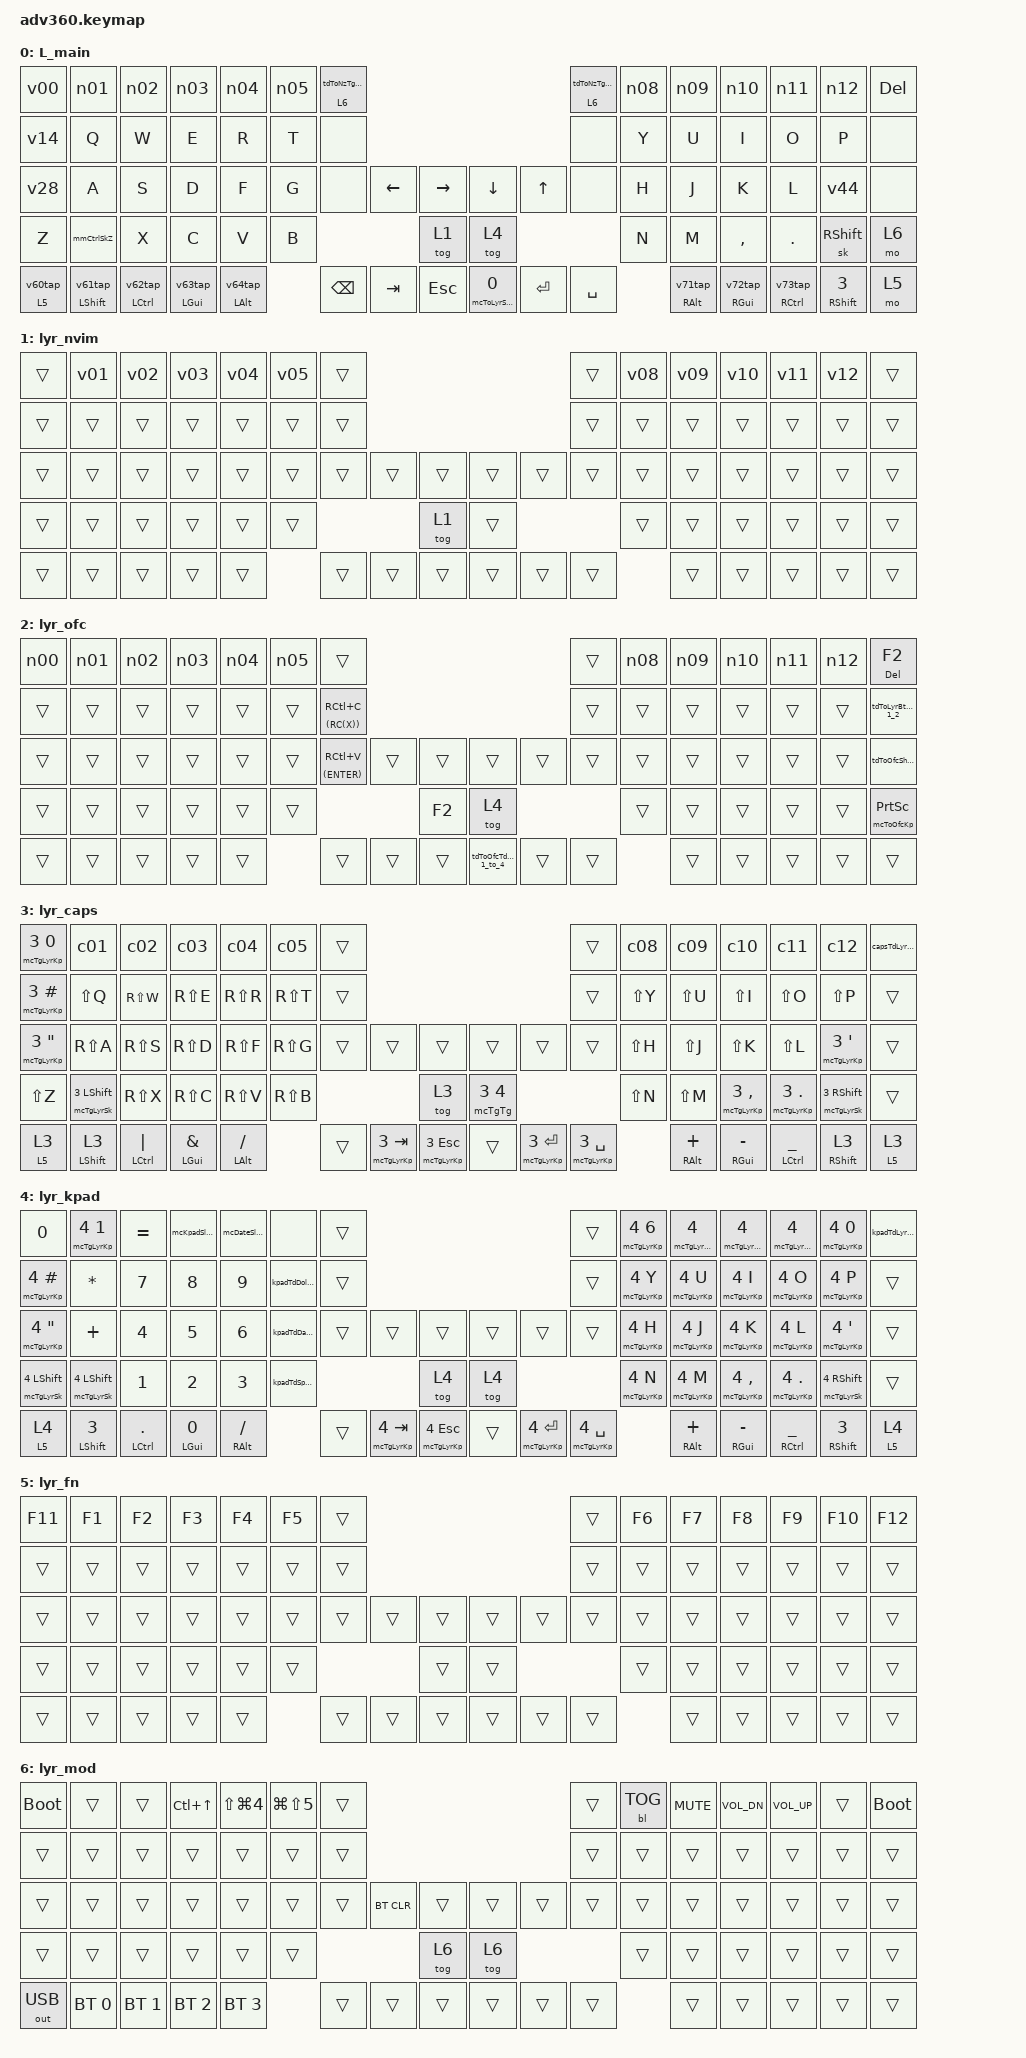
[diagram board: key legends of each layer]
/*
 * Copyright (c) 2020 The ZMK Contributors
 *
 * SPDX-License-Identifier: MIT
 */
/* THIS FILE WAS GENERATED!
 *
 * This file was generated automatically. You may or may not want to
 * edit it directly.
 */

#include <behaviors.dtsi>
#include <dt-bindings/zmk/backlight.h>
#include <dt-bindings/zmk/bt.h>
#include <dt-bindings/zmk/keys.h>
#include <dt-bindings/zmk/outputs.h>

&sk { quick-release; };

&caps_word { continue-list = <DELETE>; };

/ {
    behaviors {
        #include "macros.dtsi"
        #include "version.dtsi"

        sec_hold_tap_mods_here: sec_hold_tap_mods_here {
            compatible = "zmk,behavior-mod-morph";
            #binding-cells = <0>;
            mods = <(MOD_LSFT|MOD_RSFT)>;
            bindings = <&kp N0>, <&kp N0>;
        };

        htSklKpV61: htSklKpV61 {
            compatible = "zmk,behavior-hold-tap";
            #binding-cells = <2>;
            tapping-term-ms = <170>; // time to determine hold vs tap
            flavor = "tap-preferred"; // blanced =
            bindings = <&skl>, <&v61tap>;
        };

        v61tap: v61tap {
            compatible = "zmk,behavior-mod-morph";
            #binding-cells = <0>;
            mods = <(MOD_LSFT|MOD_RSFT)>;
            bindings = <&tog 3>, <&skl LSHIFT>;
        };

        htSkKpV62: htSkKpV62 {
            compatible = "zmk,behavior-hold-tap";
            #binding-cells = <2>;
            tapping-term-ms = <170>; // time to determine hold vs tap
            flavor = "tap-preferred"; // blanced =
            bindings = <&skl>, <&v62tap>;
        };

        v62tap: v62tap {
            compatible = "zmk,behavior-mod-morph";
            #binding-cells = <0>;
            mods = <(MOD_LSFT|MOD_RSFT)>;
            bindings = <&kp PIPE>, <&kp AT>;
        };

        htSkKpV63: htSkKpV63 {
            compatible = "zmk,behavior-hold-tap";
            #binding-cells = <2>;
            tapping-term-ms = <170>; // time to determine hold vs tap
            flavor = "tap-preferred"; //
            bindings = <&skl>, <&v63tap>;
        };

        v63tap: v63tap {
            compatible = "zmk,behavior-mod-morph";
            #binding-cells = <0>;
            mods = <(MOD_LSFT|MOD_RSFT)>;
            bindings = <&kp AMPS>, <&kp PERCENT>;
        };

        htSkKpV64: htSkKpV64 {
            compatible = "zmk,behavior-hold-tap";
            #binding-cells = <2>;
            tapping-term-ms = <170>; // time to determine hold vs tap
            flavor = "tap-preferred"; //
            bindings = <&skl>, <&v64tap>;
        };

        v64tap: v64tap {
            compatible = "zmk,behavior-mod-morph";
            #binding-cells = <0>;
            mods = <(MOD_LSFT|MOD_RSFT)>;
            bindings = <&kp SLASH>, <&kp BACKSLASH>;
        };

        htSkKpV71: htSkKpV71 {
            compatible = "zmk,behavior-hold-tap";
            #binding-cells = <2>;
            tapping-term-ms = <170>; // time to determine hold vs tap
            flavor = "tap-preferred"; //
            bindings = <&skl>, <&v71tap>;
        };

        v71tap: v71tap {
            compatible = "zmk,behavior-mod-morph";
            #binding-cells = <0>;
            mods = <(MOD_LSFT|MOD_RSFT)>;
            bindings = <&kp PLUS>, <&kp ASTRK>;
        };

        htSkKpV72: htSkKpV72 {
            compatible = "zmk,behavior-hold-tap";
            #binding-cells = <2>;
            tapping-term-ms = <170>; // time to determine hold vs tap
            flavor = "tap-preferred"; //
            bindings = <&skl>, <&v72tap>;
        };

        v72tap: v72tap {
            compatible = "zmk,behavior-mod-morph";
            #binding-cells = <0>;
            mods = <(MOD_LSFT|MOD_RSFT)>;
            bindings = <&kp MINUS>, <&kp CARET>;
        };

        htSkKpV73: htSkKpV73 {
            compatible = "zmk,behavior-hold-tap";
            #binding-cells = <2>;
            tapping-term-ms = <170>; // time to determine hold vs tap
            flavor = "tap-preferred"; // blanced =
            bindings = <&skl>, <&v73tap>;
        };

        v73tap: v73tap {
            compatible = "zmk,behavior-mod-morph";
            #binding-cells = <0>;
            mods = <(MOD_LSFT|MOD_RSFT)>;
            bindings = <&kp UNDER>, <&kp DOLLAR>;
        };

        htSkKpV74: htSkKpV74 {
            compatible = "zmk,behavior-hold-tap";
            #binding-cells = <2>;
            tapping-term-ms = <170>; // time to determine hold vs tap
            flavor = "tap-preferred"; // blanced =
            bindings = <&skl>, <&v74tap>;
        };

        v74hold: v74hold {
            compatible = "zmk,behavior-mod-morph";
            #binding-cells = <0>;
            mods = <(MOD_RCTL|MOD_RGUI|MOD_RALT)>;
            bindings = <&mo 5>, <&skl RSHFT>;
        };

        v74tap: v74tap {
            compatible = "zmk,behavior-mod-morph";
            #binding-cells = <0>;
            mods = <(MOD_RCTL|MOD_RGUI|MOD_RALT)>;
            bindings = <&tog 3>, <&skl RSHFT>;
        };

        sec_number_row_begins_here: sec_number_row_begins_here {
            compatible = "zmk,behavior-mod-morph";
            #binding-cells = <0>;
            mods = <(MOD_LSFT|MOD_RSFT)>;
            bindings = <&kp N0>, <&kp N0>;
        };

        v01: v01 {
            compatible = "zmk,behavior-mod-morph";
            #binding-cells = <0>;
            mods = <(MOD_RSFT|MOD_LSFT)>;
            bindings = <&kp EXCL>, <&kp N1>;
        };

        n01: n01 {
            compatible = "zmk,behavior-mod-morph";
            #binding-cells = <0>;
            mods = <(MOD_RSFT|MOD_LSFT)>;
            bindings = <&kp N1>, <&kp EXCL>;
        };

        v02: v02 {
            compatible = "zmk,behavior-mod-morph";
            #binding-cells = <0>;
            mods = <(MOD_RSFT|MOD_LSFT)>;
            bindings = <&kp EQUAL>, <&kp N2>;
        };

        n02: n02 {
            compatible = "zmk,behavior-mod-morph";
            #binding-cells = <0>;
            mods = <(MOD_RSFT|MOD_LSFT)>;
            bindings = <&kp N2>, <&kp EQUAL>;
        };

        v03: v03 {
            compatible = "zmk,behavior-mod-morph";
            #binding-cells = <0>;
            mods = <(MOD_LSFT|MOD_RSFT)>;
            bindings = <&kp LEFT_BRACE>, <&kp N3>;
        };

        n03: n03 {
            compatible = "zmk,behavior-mod-morph";
            #binding-cells = <0>;
            mods = <(MOD_LSFT|MOD_RSFT)>;
            bindings = <&kp N3>, <&kp LBRC>;
        };

        v04: v04 {
            compatible = "zmk,behavior-mod-morph";
            #binding-cells = <0>;
            mods = <(MOD_LSFT|MOD_RSFT)>;
            bindings = <&kp LPAR>, <&kp N4>;
        };

        n04: n04 {
            compatible = "zmk,behavior-mod-morph";
            #binding-cells = <0>;
            mods = <(MOD_LSFT|MOD_RSFT)>;
            bindings = <&kp N4>, <&kp LPAR>;
        };

        v05: v05 {
            compatible = "zmk,behavior-mod-morph";
            #binding-cells = <0>;
            mods = <(MOD_LSFT|MOD_RSFT)>;
            bindings = <&kp LEFT_BRACKET>, <&kp N5>;
        };

        n05: n05 {
            compatible = "zmk,behavior-mod-morph";
            #binding-cells = <0>;
            mods = <(MOD_LSFT|MOD_RSFT)>;
            bindings = <&kp N5>, <&kp LEFT_BRACKET>;
        };

        v08: v08 {
            compatible = "zmk,behavior-mod-morph";
            #binding-cells = <0>;
            mods = <(MOD_LSFT|MOD_RSFT)>;
            bindings = <&kp RIGHT_BRACKET>, <&kp N6>;
        };

        n08: n08 {
            compatible = "zmk,behavior-mod-morph";
            #binding-cells = <0>;
            mods = <(MOD_LSFT|MOD_RSFT)>;
            bindings = <&kp N6>, <&kp RIGHT_BRACKET>;
        };

        v09: v09 {
            compatible = "zmk,behavior-mod-morph";
            #binding-cells = <0>;
            mods = <(MOD_LSFT|MOD_RSFT)>;
            bindings = <&kp RPAR>, <&kp N7>;
        };

        n09: n09 {
            compatible = "zmk,behavior-mod-morph";
            #binding-cells = <0>;
            mods = <(MOD_LSFT|MOD_RSFT)>;
            bindings = <&kp N7>, <&kp RPAR>;
        };

        v10: v10 {
            compatible = "zmk,behavior-mod-morph";
            #binding-cells = <0>;
            mods = <(MOD_LSFT|MOD_RSFT)>;
            bindings = <&kp RBRC>, <&kp N8>;
        };

        n10: n10 {
            compatible = "zmk,behavior-mod-morph";
            #binding-cells = <0>;
            mods = <(MOD_LSFT|MOD_RSFT)>;
            bindings = <&kp N8>, <&kp RBRC>;
        };

        v11: v11 {
            compatible = "zmk,behavior-mod-morph";
            #binding-cells = <0>;
            mods = <(MOD_LSFT|MOD_RSFT)>;
            bindings = <&kp COLON>, <&kp N9>;
        };

        n11: n11 {
            compatible = "zmk,behavior-mod-morph";
            #binding-cells = <0>;
            mods = <(MOD_LSFT|MOD_RSFT)>;
            bindings = <&kp N9>, <&kp COLON>;
        };

        v12: v12 {
            compatible = "zmk,behavior-mod-morph";
            #binding-cells = <0>;
            mods = <(MOD_LSFT|MOD_RSFT)>;
            bindings = <&kp N0>, <&kp N0>;
        };

        n12: n12 {
            compatible = "zmk,behavior-mod-morph";
            #binding-cells = <0>;
            mods = <(MOD_LSFT|MOD_RSFT)>;
            bindings = <&kp N0>, <&kp N0>;
        };

        sec_left_side_mods_here: sec_left_side_mods_here {
            compatible = "zmk,behavior-mod-morph";
            #binding-cells = <0>;
            mods = <(MOD_LSFT|MOD_RSFT)>;
            bindings = <&kp N0>, <&kp N0>;
        };

        v00: v00 {
            compatible = "zmk,behavior-mod-morph";
            #binding-cells = <0>;
            mods = <(MOD_LSFT|MOD_RSFT)>;
            bindings = <&kp N0>, <&kp N0>;
        };

        n00: n00 {
            compatible = "zmk,behavior-mod-morph";
            #binding-cells = <0>;
            mods = <(MOD_LSFT|MOD_RSFT)>;
            bindings = <&kp N0>, <&kp ASTRK>;
        };

        v14: v14 {
            compatible = "zmk,behavior-mod-morph";
            #binding-cells = <0>;
            mods = <(MOD_LSFT|MOD_RSFT)>;
            bindings = <&kp HASH>, <&kp QMARK>;
        };

        v28: v28 {
            compatible = "zmk,behavior-mod-morph";
            #binding-cells = <0>;
            mods = <(MOD_LSFT|MOD_RSFT)>;
            bindings = <&kp DOUBLE_QUOTES>, <&kp SEMI>;
        };

        sec_right_side_mods_here: sec_right_side_mods_here {
            compatible = "zmk,behavior-mod-morph";
            #binding-cells = <0>;
            mods = <(MOD_LSFT|MOD_RSFT)>;
            bindings = <&kp N0>, <&kp N0>;
        };

        v27: v27 {
            compatible = "zmk,behavior-mod-morph";
            #binding-cells = <0>;
            mods = <(MOD_LSFT|MOD_RSFT)>;
            bindings = <&kp TILDE>, <&kp TILDE>;
        };

        v44: v44 {
            compatible = "zmk,behavior-mod-morph";
            #binding-cells = <0>;
            mods = <(MOD_RSFT|MOD_LSFT)>;
            bindings = <&kp SQT>, <&kp N0>;
        };

        v58: v58 {
            compatible = "zmk,behavior-mod-morph";
            #binding-cells = <0>;
            mods = <(MOD_RSFT|MOD_LSFT)>;
            bindings = <&kp SEMICOLON>, <&kp QMARK>;
        };

        sec_tap_dance_mods_here: sec_tap_dance_mods_here {
            compatible = "zmk,behavior-mod-morph";
            #binding-cells = <0>;
            mods = <(MOD_LSFT|MOD_RSFT)>;
            bindings = <&kp N0>, <&kp N0>;
        };

        tdToNzTgOfc: tdToNzTgOfc {
            compatible = "zmk,behavior-tap-dance";
            #binding-cells = <0>;
            bindings = <&to 0>, <&tog 2>;

            tapping-term-ms = <300>;
        };

        tdToLyrBtSel_1_2: tdToLyrBtSel_1_2 {
            compatible = "zmk,behavior-tap-dance";
            #binding-cells = <0>;
            bindings = <&mcToLyrBtSel3 2>, <&mcToLyrBtSel2 2>;
        };

        tdToOfcTdAt_1_to_4: tdToOfcTdAt_1_to_4 {
            compatible = "zmk,behavior-tap-dance";
            #binding-cells = <0>;
            tapping-term-ms = <185>;
            bindings =
                <&mcToOfcAt1>,
                <&mcToOfcAt2>,
                <&mcToOfcAt3>,
                <&mcToOfcAt4>;
        };

        sec_generic_htmod_here: sec_generic_htmod_here {
            compatible = "zmk,behavior-mod-morph";
            #binding-cells = <0>;
            mods = <(MOD_LSFT|MOD_RSFT)>;
            bindings = <&kp N0>, <&kp N0>;
        };

        htMoTg: htMoTg {
            compatible = "zmk,behavior-hold-tap";
            #binding-cells = <2>;
            tapping-term-ms = <170>;
            flavor = "tap-preferred";
            bindings = <&mo>, <&tog>;
        };

        htSkTg: htSkTg {
            compatible = "zmk,behavior-hold-tap";
            #binding-cells = <2>;
            tapping-term-ms = <170>;
            flavor = "tap-preferred";
            bindings = <&skl>, <&tog>;
        };

        htMoLyrTdToNvTgOfc: htMoLyrTdToNvTgOfc {
            compatible = "zmk,behavior-hold-tap";
            #binding-cells = <2>;
            tapping-term-ms = <185>;
            flavor = "tap-preferred";
            bindings = <&mo>, <&tdToNzTgOfc>;
        };

        sec_ofc_caps_kpad_here: sec_ofc_caps_kpad_here {
            compatible = "zmk,behavior-mod-morph";
            #binding-cells = <0>;
            mods = <(MOD_LSFT|MOD_RSFT)>;
            bindings = <&kp N0>, <&kp N0>;
        };

        tdToOfcShiftF: tdToOfcShiftF {
            compatible = "zmk,behavior-tap-dance";
            #binding-cells = <0>;
            tapping-term-ms = <180>;
            bindings = <&mcToOfcSkLSKp F10>, <&mcToOfcSkLSKp F6>;
        };

        capsHtSkKp: capsHtSkKp {
            compatible = "zmk,behavior-hold-tap";
            #binding-cells = <2>;
            tapping-term-ms = <170>;
            flavor = "tap-preferred";
            bindings = <&mcHoldTgCapsSk>, <&kp>;
        };

        capsHtTgSkTgKp: capsHtTgSkTgKp {
            compatible = "zmk,behavior-hold-tap";
            #binding-cells = <2>;
            tapping-term-ms = <170>;
            flavor = "tap-preferred";
            bindings = <&mcHoldTgCapsSk>, <&mcTapTgCapsKp>;
        };

        kpadHtTgSkTgKp: kpadHtTgSkTgKp {
            compatible = "zmk,behavior-hold-tap";
            #binding-cells = <2>;
            tapping-term-ms = <170>;
            flavor = "tap-preferred";
            bindings = <&mcHoldTgKpadSk>, <&mcTapTgKpadKp>;
        };

        kpadHtTgSkKp: kpadHtTgSkKp {
            compatible = "zmk,behavior-hold-tap";
            #binding-cells = <2>;
            tapping-term-ms = <170>;
            flavor = "tap-preferred";
            bindings = <&mcHoldTgKpadSk>, <&kp>;
        };

        kpadTdSpc808: kpadTdSpc808 {
            compatible = "zmk,behavior-tap-dance";
            #binding-cells = <0>;
            tapping-term-ms = <180>;
            bindings = <&kp SPACE>, <&mcKpad808>;
        };

        kpadTdSlashDate: kpadTdSlashDate {
            compatible = "zmk,behavior-tap-dance";
            #binding-cells = <0>;
            tapping-term-ms = <225>;
            bindings = <&kp FSLH>, <&mcKpadSlashDate>;
        };

        kpadHtSkTdSlashDate: kpadHtSkTdSlashDate {
            compatible = "zmk,behavior-hold-tap";
            #binding-cells = <2>;
            tapping-term-ms = <180>;
            flavor = "tap-preferred";
            bindings = <&mcHoldTgKpadSk>, <&kpadTdSlashDate>;
        };

        kpadTdDotDate: kpadTdDotDate {
            compatible = "zmk,behavior-tap-dance";
            #binding-cells = <0>;
            tapping-term-ms = <225>;
            bindings = <&kp DOT>, <&mcDateDotEnd>;
        };

        kpadHtSkTdDotDate: kpadHtSkTdDotDate {
            compatible = "zmk,behavior-hold-tap";
            #binding-cells = <2>;
            tapping-term-ms = <180>;
            flavor = "tap-preferred";
            bindings = <&mcHoldTgKpadSk>, <&kpadTdDotDate>;
        };

        toOfcTdF2Del: toOfcTdF2Del {
            compatible = "zmk,behavior-tap-dance";
            #binding-cells = <0>;
            tapping-term-ms = <180>;
            bindings = <&mcToOfcKp F2>, <&mcToOfcKp DEL>;
        };

        kpadTdDollarDotDate: kpadTdDollarDotDate {
            compatible = "zmk,behavior-tap-dance";
            #binding-cells = <0>;
            tapping-term-ms = <180>;
            bindings = <&kp DOLLAR>, <&mcDateDotEnd>;
        };

        kpadTdDashSlashDate: kpadTdDashSlashDate {
            compatible = "zmk,behavior-tap-dance";
            #binding-cells = <0>;
            tapping-term-ms = <225>;
            bindings = <&kp MINUS>, <&mcSlashDateDash>;
        };

        kpadTdLyrF2Del: kpadTdLyrF2Del {
            compatible = "zmk,behavior-tap-dance";
            #binding-cells = <0>;
            tapping-term-ms = <225>;
            bindings = <&mcTgLyrKp 4 F2>, <&mcTgLyrKp 4 DEL>;
        };

        capsTdLyrF2Del: capsTdLyrF2Del {
            compatible = "zmk,behavior-tap-dance";
            #binding-cells = <0>;
            tapping-term-ms = <225>;
            bindings = <&mcTgLyrKp 3 F2>, <&mcTgLyrKp 3 DEL>;
        };

        toOfcHtF2Del: toOfcHtF2Del {
            compatible = "zmk,behavior-hold-tap";
            bindings = <&mcToOfcKp>, <&mcToOfcKp>;

            #binding-cells = <2>;
            tapping-term-ms = <365>;
        };

        toOfcHtCxCc: toOfcHtCxCc {
            compatible = "zmk,behavior-hold-tap";
            bindings = <&mcToOfcKp>, <&mcToOfcKp>;

            #binding-cells = <2>;
            tapping-term-ms = <300>;
        };

        skl: skl {
            compatible = "zmk,behavior-sticky-key";
            bindings = <&kp>;
            #binding-cells = <1>;
            release-after-ms = <999>;
            lazy;
            ignore-modifiers;
            quick-release;
        };

        c09: c09 {
            compatible = "zmk,behavior-mod-morph";
            bindings = <&kp N7>, <&mcTgLyrKp 3 RPAR>;

            #binding-cells = <0>;
            mods = <(MOD_LSFT|MOD_RSFT)>;
        };

        c01: c01 {
            compatible = "zmk,behavior-mod-morph";
            bindings = <&kp N1>, <&mcTgLyrKp 3 EXCL>;

            #binding-cells = <0>;
            mods = <(MOD_LSFT|MOD_RSFT)>;
        };

        c02: c02 {
            compatible = "zmk,behavior-mod-morph";
            bindings = <&kp N2>, <&mcTgLyrKp 3 EQUAL>;

            #binding-cells = <0>;
            mods = <(MOD_LSFT|MOD_RSFT)>;
        };

        c03: c03 {
            compatible = "zmk,behavior-mod-morph";
            bindings = <&kp N3>, <&mcTgLyrKp 3 LBRC>;

            #binding-cells = <0>;
            mods = <(MOD_LSFT|MOD_RSFT)>;
        };

        c04: c04 {
            compatible = "zmk,behavior-mod-morph";
            bindings = <&kp N4>, <&mcTgLyrKp 3 LPAR>;

            #binding-cells = <0>;
            mods = <(MOD_LSFT|MOD_RSFT)>;
        };

        c05: c05 {
            compatible = "zmk,behavior-mod-morph";
            bindings = <&kp N5>, <&mcTgLyrKp 3 LBKT>;

            #binding-cells = <0>;
            mods = <(MOD_LSFT|MOD_RSFT)>;
        };

        c08: c08 {
            compatible = "zmk,behavior-mod-morph";
            bindings = <&kp N6>, <&mcTgLyrKp 3 RBKT>;

            #binding-cells = <0>;
            mods = <(MOD_LSFT|MOD_RSFT)>;
        };

        c10: c10 {
            compatible = "zmk,behavior-mod-morph";
            bindings = <&kp N8>, <&mcTgLyrKp 3 RBRC>;

            #binding-cells = <0>;
            mods = <(MOD_LSFT|MOD_RSFT)>;
        };

        c11: c11 {
            compatible = "zmk,behavior-mod-morph";
            bindings = <&kp N9>, <&mcTgLyrKp 3 COLON>;

            #binding-cells = <0>;
            mods = <(MOD_LSFT|MOD_RSFT)>;
        };

        c12: c12 {
            compatible = "zmk,behavior-mod-morph";
            bindings = <&kp N0>, <&mcTgLyrKp 3 N0>;

            #binding-cells = <0>;
            mods = <(MOD_LSFT|MOD_RSFT)>;
        };

        v60tap: v60tap {
            compatible = "zmk,behavior-mod-morph";
            #binding-cells = <0>;
            mods = <(MOD_LSFT|MOD_RSFT)>;
            bindings = <&kp TILDE>, <&kp GRAVE>;
        };

        htSkKpV60: htSkKpV60 {
            compatible = "zmk,behavior-hold-tap";
            #binding-cells = <2>;
            tapping-term-ms = <170>;
            flavor = "tap-preferred";
            bindings = <&mo>, <&v60tap>;
        };

        kpadHtSkTg: kpadHtSkTg {
            compatible = "zmk,behavior-hold-tap";
            bindings = <&mcHoldTgKpadSk>, <&mcTapTgKpadTg>;

            #binding-cells = <2>;
            tapping-term-ms = <180>;
        };

        new_behavior: new_behavior {
            compatible = "zmk,behavior-hold-tap";
            label = "NEW_BEHAVIOR";
            bindings = <&kpadHtTgSkTgKp>, <&mcTapTgKpadTg>;

            #binding-cells = <2>;
            tapping-term-ms = <180>;
        };

        mmCtrlSkZ: mmCtrlSkZ {
            compatible = "zmk,behavior-mod-morph";
            bindings = <&sk LSHFT>, <&kp Z>;

            #binding-cells = <0>;
            mods = <(MOD_RCTL)>;
        };
    };

    conditional_layers { compatible = "zmk,conditional-layers"; };

    macros {
        mcToOfcAt1: mcToOfcAt1 {
            compatible = "zmk,behavior-macro";
            #binding-cells = <0>;
            bindings =
                <&macro_tap>,
                <&to 2>,
                <&macro_press>,
                <&kp RALT>,
                <&macro_tap>,
                <&kp TAB>,
                <&macro_release>,
                <&kp RALT>;
        };

        mcToOfcAt2: mcToOfcAt2 {
            compatible = "zmk,behavior-macro";
            #binding-cells = <0>;
            bindings =
                <&macro_tap>,
                <&to 2>,
                <&macro_press>,
                <&kp RALT>,
                <&macro_tap>,
                <&kp TAB &kp TAB>,
                <&macro_release>,
                <&kp RALT>;
        };

        mcToOfcAt3: mcToOfcAt3 {
            compatible = "zmk,behavior-macro";
            #binding-cells = <0>;
            bindings =
                <&macro_tap>,
                <&to 2>,
                <&macro_press>,
                <&kp RALT>,
                <&macro_tap>,
                <&kp TAB &kp TAB &kp TAB>,
                <&macro_release>,
                <&kp RALT>;
        };

        mcToOfcAt4: mcToOfcAt4 {
            compatible = "zmk,behavior-macro";
            #binding-cells = <0>;
            bindings =
                <&macro_tap>,
                <&to 2>,
                <&macro_press>,
                <&kp RALT>,
                <&macro_tap>,
                <&kp TAB &kp TAB &kp TAB &kp TAB>,
                <&macro_release>,
                <&kp RALT>;
        };

        mc_rcmdx2: mc_rcmdx2 {
            compatible = "zmk,behavior-macro";
            #binding-cells = <0>;
            bindings = <&macro_tap>, <&kp RGUI &kp RGUI>;
        };

        mcTgLyrKp: mcTgLyrKp {
            compatible = "zmk,behavior-macro-two-param";
            wait-ms = <0>;
            tap-ms = <0>;
            #binding-cells = <2>;
            bindings =
                <&macro_tap>,
                <&macro_param_1to1 &tog MACRO_PLACEHOLDER &macro_param_2to1 &kp MACRO_PLACEHOLDER>;
        };

        mcTgLyrSk: mcTgLyrSk {
            compatible = "zmk,behavior-macro-two-param";
            wait-ms = <0>;
            tap-ms = <0>;
            #binding-cells = <2>;
            bindings =
                <&macro_tap>,
                <&macro_param_1to1 &tog MACRO_PLACEHOLDER &macro_param_2to1 &sk MACRO_PLACEHOLDER>;
        };

        mcToOfcSkRC: mcToOfcSkRC {
            compatible = "zmk,behavior-macro";
            #binding-cells = <0>;
            bindings = <&macro_tap>, <&to 2 &skl RCTRL>;
        };

        mcTgKpadKpUndSkRS: mcTgKpadKpUndSkRS {
            compatible = "zmk,behavior-macro";
            #binding-cells = <0>;
            bindings = <&macro_tap>, <&tog 4 &kp UNDER &skl RSHIFT>;
        };

        mcTgTg: mcTgTg {
            compatible = "zmk,behavior-macro-two-param";
            #binding-cells = <2>;
            bindings =
                <&macro_tap>,
                <&macro_param_1to1 &tog MACRO_PLACEHOLDER &macro_param_2to1 &tog MACRO_PLACEHOLDER>;
        };

        mcHoldTgCapsSk: mcHoldTgCapsSk {
            compatible = "zmk,behavior-macro-one-param";
            #binding-cells = <1>;
            bindings =
                <&macro_tap>,
                <&tog 3 &macro_param_1to1 &skl MACRO_PLACEHOLDER>;
        };

        mcTapTgCapsKp: mcTapTgCapsKp {
            compatible = "zmk,behavior-macro-one-param";
            #binding-cells = <1>;
            bindings =
                <&macro_tap>,
                <&tog 3 &macro_param_1to1 &kp MACRO_PLACEHOLDER>;
        };

        mcHoldTgKpadSk: mcHoldTgKpadSk {
            compatible = "zmk,behavior-macro-one-param";
            #binding-cells = <1>;
            bindings =
                <&macro_tap>,
                <&tog 4 &macro_param_1to1 &skl MACRO_PLACEHOLDER>;
        };

        mcTapTgKpadKp: mcTapTgKpadKp {
            compatible = "zmk,behavior-macro-one-param";
            #binding-cells = <1>;
            bindings =
                <&macro_tap>,
                <&tog 4 &macro_param_1to1 &kp MACRO_PLACEHOLDER>;
        };

        mcHoldTgCapsMo: mcHoldTgCapsMo {
            compatible = "zmk,behavior-macro-one-param";
            #binding-cells = <1>;
            bindings =
                <&macro_tap>,
                <&tog 3 &macro_param_1to1 &mo MACRO_PLACEHOLDER>;
        };

        mcHoldTgKpadMo: mcHoldTgKpadMo {
            compatible = "zmk,behavior-macro-one-param";
            #binding-cells = <1>;
            bindings =
                <&macro_tap>,
                <&tog 4 &macro_param_1to1 &mo MACRO_PLACEHOLDER>;
        };

        mcToLyrSkAllMods: mcToLyrSkAllMods {
            compatible = "zmk,behavior-macro-one-param";
            #binding-cells = <1>;
            bindings =
                <&macro_tap>,
                <&macro_param_1to1 &to MACRO_PLACEHOLDER &skl RS(RA(RC(RGUI)))>;
        };

        mcToLyrBtSel1: mcToLyrBtSel1 {
            compatible = "zmk,behavior-macro-one-param";
            #binding-cells = <1>;
            bindings =
                <&macro_tap>,
                <&macro_param_1to1 &to MACRO_PLACEHOLDER &bt BT_SEL 1>;
        };

        mcToLyrBtSel2: mcToLyrBtSel2 {
            compatible = "zmk,behavior-macro-one-param";
            #binding-cells = <1>;
            bindings =
                <&macro_tap>,
                <&macro_param_1to1 &to MACRO_PLACEHOLDER &bt BT_SEL 2>;
        };

        mcToLyrBtSel3: mcToLyrBtSel3 {
            compatible = "zmk,behavior-macro-one-param";
            #binding-cells = <1>;
            bindings =
                <&macro_tap>,
                <&macro_param_1to1 &to MACRO_PLACEHOLDER &bt BT_SEL 3>;
        };

        mcToLyrKpLSF10: mcToLyrKpLSF10 {
            compatible = "zmk,behavior-macro-one-param";
            #binding-cells = <1>;
            bindings =
                <&macro_tap>,
                <&macro_param_1to1 &to MACRO_PLACEHOLDER &kp LS(F10)>;
        };

        mcToOfcKp: mcToOfcKp {
            compatible = "zmk,behavior-macro-one-param";
            #binding-cells = <1>;
            bindings =
                <&macro_tap>,
                <&to 2 &macro_param_1to1 &kp MACRO_PLACEHOLDER>;
        };

        mcToOfcSkLSKp: mcToOfcSkLSKp {
            compatible = "zmk,behavior-macro-one-param";
            #binding-cells = <1>;
            bindings =
                <&macro_tap>,
                <&to 2 &skl LEFT_SHIFT &macro_param_1to1 &kp MACRO_PLACEHOLDER>;
        };

        mcToLyrBtSel0: mcToLyrBtSel0 {
            compatible = "zmk,behavior-macro-one-param";
            #binding-cells = <1>;
            bindings =
                <&macro_tap>,
                <&macro_param_1to1 &to MACRO_PLACEHOLDER &bt BT_SEL 0>;

            label = "MCTOLYRBTSEL0";
        };

        mcKpad808: mcKpad808 {
            compatible = "zmk,behavior-macro";
            #binding-cells = <0>;
            bindings =
                <&macro_tap>,
                <&kp PLUS &kp N1 &kp SPACE &kp LPAR &kp N8 &kp N0 &kp N8 &kp RPAR &kp SPACE>;

            label = "MCKPAD808";
        };

        mcKpadSlashDate: mcKpadSlashDate {
            compatible = "zmk,behavior-macro";
            #binding-cells = <0>;
            bindings = <&macro_tap>, <&kp N1 &kp N1 &kp SLASH &kp N1>;
        };

        mcDateDotEnd: mcKpadDotDate {
            compatible = "zmk,behavior-macro";
            #binding-cells = <0>;
            bindings = <&macro_tap>, <&kp DOT &kp N2 &kp N6>;
        };

        mcDateSlashEnd: mcDateSlashEnd {
            compatible = "zmk,behavior-macro";
            #binding-cells = <0>;
            bindings = <&macro_tap>, <&kp SLASH &kp N2 &kp N6>;

            label = "MCDATESLASHEND";
        };

        mcSlashDateDash: mcSlashDateDash {
            compatible = "zmk,behavior-macro";
            #binding-cells = <0>;
            bindings =
                <&macro_tap>,
                <&kp SLASH &kp N2 &kp N6 &kp SPACE &kp MINUS &kp SPACE &tog 4>;

            label = "MCSLASHDATEDASH";
        };

        mcTgLyrMm09: mcTgLyrMm09 {
            compatible = "zmk,behavior-macro-one-param";
            wait-ms = <0>;
            tap-ms = <0>;
            #binding-cells = <1>;
            bindings =
                <&macro_tap>,
                <&macro_param_1to1 &tog MACRO_PLACEHOLDER &n09>;
        };

        mcTgLyrMm10: mcTgLyrMm10 {
            compatible = "zmk,behavior-macro-one-param";
            wait-ms = <0>;
            tap-ms = <0>;
            #binding-cells = <1>;
            bindings =
                <&macro_tap>,
                <&macro_param_1to1 &tog MACRO_PLACEHOLDER &n10>;

            label = "MCTGLYRMM10";
        };

        mcTgLyrMm11: mcTgLyrMm11 {
            compatible = "zmk,behavior-macro-one-param";
            wait-ms = <0>;
            tap-ms = <0>;
            #binding-cells = <1>;
            bindings =
                <&macro_tap>,
                <&macro_param_1to1 &tog MACRO_PLACEHOLDER &n11>;

            label = "MCTGLYRMM11";
        };

        mcTapTgKpadTg: mcTapTgKpadTg {
            compatible = "zmk,behavior-macro-one-param";
            #binding-cells = <1>;
            bindings =
                <&macro_tap>,
                <&tog 4 &macro_param_1to1 &tog MACRO_PLACEHOLDER>;

            label = "MCTAPTGKPADTG";
        };
    };

    combos { compatible = "zmk,combos"; };

    keymap {
        compatible = "zmk,keymap";

        L_main {
            bindings = <
&v00            &n01                  &n02                &n03               &n04               &n05   &htMoLyrTdToNvTgOfc 6 0                                                           &htMoLyrTdToNvTgOfc 6 0  &n08   &n09               &n10               &n11                &n12                &kp DEL
&v14            &kp Q                 &kp W               &kp E              &kp R              &kp T  &none                                                                             &none                    &kp Y  &kp U              &kp I              &kp O               &kp P               &none
&v28            &kp A                 &kp S               &kp D              &kp F              &kp G  &none                    &kp LEFT  &kp RIGHT      &kp DOWN             &kp UP     &none                    &kp H  &kp J              &kp K              &kp L               &v44                &none
&kp Z           &mmCtrlSkZ            &kp X               &kp C              &kp V              &kp B                                     &tog 1         &tog 4                                                   &kp N  &kp M              &kp COMMA          &kp PERIOD          &sk RSHFT           &mo 6
&htSkKpV60 5 0  &htSklKpV61 LSHIFT 0  &htSkKpV62 LCTRL 0  &htSkKpV63 LGUI 0  &htSkKpV64 LALT 0         &kp BSPC                 &kp TAB   &kp ESC        &mcToLyrSkAllMods 0  &kp ENTER  &kp SPACE                       &htSkKpV71 RALT 0  &htSkKpV72 RGUI 0  &htSkKpV73 RCTRL 0  &htSkKpV74 RSHFT 3  &mo 5
            >;
        };

        lyr_nvim {
            bindings = <
&trans  &v01    &v02    &v03    &v04    &v05    &trans                                      &trans  &v08    &v09    &v10    &v11    &v12    &trans
&trans  &trans  &trans  &trans  &trans  &trans  &trans                                      &trans  &trans  &trans  &trans  &trans  &trans  &trans
&trans  &trans  &trans  &trans  &trans  &trans  &trans  &trans  &trans      &trans  &trans  &trans  &trans  &trans  &trans  &trans  &trans  &trans
&trans  &trans  &trans  &trans  &trans  &trans                  &tog 1      &trans                  &trans  &trans  &trans  &trans  &trans  &trans
&trans  &trans  &trans  &trans  &trans          &trans  &trans  &trans      &trans  &trans  &trans          &trans  &trans  &trans  &trans  &trans
            >;
        };

        lyr_ofc {
            bindings = <
&n00    &n01    &n02    &n03    &n04    &n05    &trans                                                                       &trans  &n08    &n09    &n10    &n11    &n12    &toOfcHtF2Del DEL F2
&trans  &trans  &trans  &trans  &trans  &trans  &toOfcHtCxCc (RC(X)) RC(C)                                                   &trans  &trans  &trans  &trans  &trans  &trans  &tdToLyrBtSel_1_2
&trans  &trans  &trans  &trans  &trans  &trans  &toOfcHtCxCc (ENTER) RC(V)  &trans  &trans      &trans               &trans  &trans  &trans  &trans  &trans  &trans  &trans  &tdToOfcShiftF
&trans  &trans  &trans  &trans  &trans  &trans                                      &kp F2      &tog 4                               &trans  &trans  &trans  &trans  &trans  &mcToOfcKp PRINTSCREEN
&trans  &trans  &trans  &trans  &trans          &trans                      &trans  &trans      &tdToOfcTdAt_1_to_4  &trans  &trans          &trans  &trans  &trans  &trans  &trans
            >;
        };

        lyr_caps {
            bindings = <
&mcTgLyrKp 3 N0             &c01                 &c02                        &c03                       &c04                    &c05       &trans                                                                           &trans              &c08       &c09                       &c10                    &c11                         &c12                &capsTdLyrF2Del
&mcTgLyrKp 3 HASH           &kp LS(Q)            &kp RS(W)                   &kp RS(E)                  &kp RS(R)               &kp RS(T)  &trans                                                                           &trans              &kp LS(Y)  &kp LS(U)                  &kp LS(I)               &kp LS(O)                    &kp LS(P)           &trans
&mcTgLyrKp 3 DOUBLE_QUOTES  &kp RS(A)            &kp RS(S)                   &kp RS(D)                  &kp RS(F)               &kp RS(G)  &trans  &trans            &trans                &trans       &trans              &trans              &kp LS(H)  &kp LS(J)                  &kp LS(K)               &kp LS(L)                    &mcTgLyrKp 3 APOS   &trans
&kp LS(Z)                   &mcTgLyrSk 3 LSHIFT  &kp RS(X)                   &kp RS(C)                  &kp RS(V)               &kp RS(B)                            &tog 3                &mcTgTg 3 4                                          &kp LS(N)  &kp LS(M)                  &mcTgLyrKp 3 COMMA      &mcTgLyrKp 3 DOT             &mcTgLyrSk 3 RSHFT  &trans
&htMoTg 5 3                 &htSkTg LSHFT 3      &capsHtTgSkTgKp LCTRL PIPE  &capsHtTgSkTgKp LGUI AMPS  &capsHtSkKp LALT SLASH             &trans  &mcTgLyrKp 3 TAB  &mcTgLyrKp 3 ESC      &trans       &mcTgLyrKp 3 ENTER  &mcTgLyrKp 3 SPACE             &capsHtTgSkTgKp RALT PLUS  &capsHtSkKp RGUI MINUS  &capsHtTgSkTgKp LCTRL UNDER  &htSkTg RSHFT 3     &htMoTg 5 3
            >;
        };

        lyr_kpad {
            bindings = <
&kp N0                      &mcTgLyrKp 4 N1       &kp EQUAL                &mcKpadSlashDate       &mcDateSlashEnd           &none                 &trans                                                                      &trans              &mcTgLyrKp 4 N6  &mcTgLyrMm09 4             &mcTgLyrMm10 4              &mcTgLyrMm11 4               &mcTgLyrKp 4 N0       &kpadTdLyrF2Del
&mcTgLyrKp 4 HASH           &kp ASTRK             &kp N7                   &kp N8                 &kp N9                    &kpadTdDollarDotDate  &trans                                                                      &trans              &mcTgLyrKp 4 Y   &mcTgLyrKp 4 U             &mcTgLyrKp 4 I              &mcTgLyrKp 4 O               &mcTgLyrKp 4 P        &trans
&mcTgLyrKp 4 DOUBLE_QUOTES  &kp PLUS              &kp N4                   &kp N5                 &kp N6                    &kpadTdDashSlashDate  &trans  &trans            &trans                &trans  &trans              &trans              &mcTgLyrKp 4 H   &mcTgLyrKp 4 J             &mcTgLyrKp 4 K              &mcTgLyrKp 4 L               &mcTgLyrKp 4 APOS     &trans
&mcTgLyrSk 4 LSHFT          &mcTgLyrSk 4 LSHIFT   &kp N1                   &kp N2                 &kp N3                    &kpadTdSpc808                                   &tog 4                &tog 4                                          &mcTgLyrKp 4 N   &mcTgLyrKp 4 M             &mcTgLyrKp 4 COMMA          &mcTgLyrKp 4 DOT             &mcTgLyrSk 4 RSHFT    &trans
&htMoTg 5 4                 &kpadHtSkTg LSHIFT 3  &kpadHtTgSkKp LCTRL DOT  &kpadHtTgSkKp LGUI N0  &kpadHtTgSkKp RALT SLASH                        &trans  &mcTgLyrKp 4 TAB  &mcTgLyrKp 4 ESC      &trans  &mcTgLyrKp 4 ENTER  &mcTgLyrKp 4 SPACE                   &kpadHtTgSkTgKp RALT PLUS  &kpadHtTgSkTgKp RGUI MINUS  &kpadHtTgSkTgKp RCTRL UNDER  &kpadHtSkTg RSHIFT 3  &htMoTg 5 4
            >;
        };

        lyr_fn {
            bindings = <
&kp F11  &kp F1  &kp F2  &kp F3  &kp F4  &kp F5  &trans                                      &trans  &kp F6  &kp F7  &kp F8  &kp F9  &kp F10  &kp F12
&trans   &trans  &trans  &trans  &trans  &trans  &trans                                      &trans  &trans  &trans  &trans  &trans  &trans   &trans
&trans   &trans  &trans  &trans  &trans  &trans  &trans  &trans  &trans      &trans  &trans  &trans  &trans  &trans  &trans  &trans  &trans   &trans
&trans   &trans  &trans  &trans  &trans  &trans                  &trans      &trans                  &trans  &trans  &trans  &trans  &trans   &trans
&trans   &trans  &trans  &trans  &trans          &trans  &trans  &trans      &trans  &trans  &trans          &trans  &trans  &trans  &trans   &trans
            >;
        };

        lyr_mod {
            bindings = <
&bootloader   &trans        &trans        &kp LC(UP_ARROW)  &kp LS(LG(N4))  &kp LG(LS(N5))  &trans                                          &trans  &bl BL_TOG  &kp C_MUTE  &kp C_VOL_DN  &kp C_VOL_UP  &trans  &bootloader
&trans        &trans        &trans        &trans            &trans          &trans          &trans                                          &trans  &trans      &trans      &trans        &trans        &trans  &trans
&trans        &trans        &trans        &trans            &trans          &trans          &trans  &bt BT_CLR  &trans      &trans  &trans  &trans  &trans      &trans      &trans        &trans        &trans  &trans
&trans        &trans        &trans        &trans            &trans          &trans                              &tog 6      &tog 6                  &trans      &trans      &trans        &trans        &trans  &trans
&out OUT_USB  &bt BT_SEL 0  &bt BT_SEL 1  &bt BT_SEL 2      &bt BT_SEL 3                    &trans  &trans      &trans      &trans  &trans  &trans              &trans      &trans        &trans        &trans  &trans
            >;
        };
    };
};
